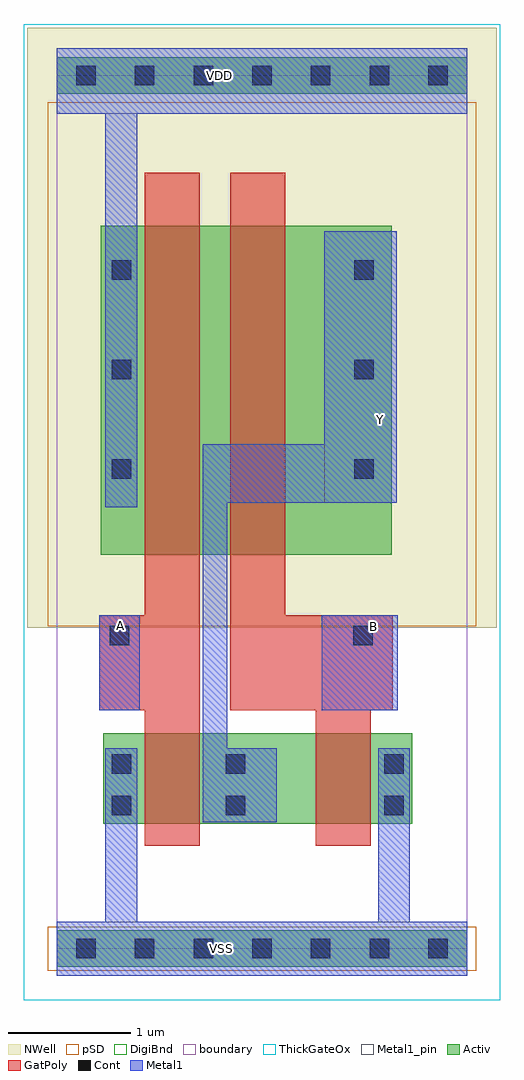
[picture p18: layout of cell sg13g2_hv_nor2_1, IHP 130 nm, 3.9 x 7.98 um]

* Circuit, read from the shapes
.subckt sg13g2_hv_nor2_1 A B VDD VSS Y
XM1 Y A VSS VSS sg13_hv_nmos w=0.74u l=0.45u
XM2 VSS B Y VSS sg13_hv_nmos w=0.74u l=0.45u
XM3 n1 A VDD VDD sg13_hv_pmos w=2.69u l=0.45u
XM4 Y B n1 VDD sg13_hv_pmos w=2.69u l=0.45u
.ends

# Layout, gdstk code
import gdstk
lib = gdstk.Library(unit=1e-6, precision=1e-09)
def R(c, l, rs):  # rectangles x0, y0, x1, y1
    for r in rs: c.add(gdstk.rectangle(r[:2], r[2:], *l))
def A(c, l, x, y, w, h, nx, ny, dx, dy):  # array of equal rectangles
    R(c, l, [(x+i*dx, y+j*dy, x+i*dx+w, y+j*dy+h) for i in range(nx) for j in range(ny)])
def P(c, l, *ps):  # polygons
    for p in ps: c.add(gdstk.Polygon(p, *l))
Activ = (1, 0)
GatPoly = (5, 0)
Cont = (6, 0)
Metal1 = (8, 0)
Metal1_pin = (8, 2)
pSD = (14, 0)
DigiBnd = (16, 0)
NWell = (31, 0)
ThickGateOx = (44, 0)
boundary = (189, 4)

sg13g2_hv_nor2_1 = lib.new_cell('sg13g2_hv_nor2_1')
R(sg13g2_hv_nor2_1, Activ, [(0,-0.15,3.36,0.15), (0.38,1.02,2.91,1.76), (0.36,3.22,2.74,5.91), (0,6.99,3.36,7.29)])
P(sg13g2_hv_nor2_1, GatPoly, [(2.12,0.84),(2.12,1.95),(1.42,1.95),(1.42,6.345),(1.87,6.345),(1.87,2.725),(2.75,2.725),(2.75,1.95),(2.57,1.95),(2.57,0.84)],
  [(0.72,0.84),(0.72,1.95),(0.35,1.95),(0.35,2.725),(0.72,2.725),(0.72,6.345),(1.17,6.345),(1.17,0.84)])
A(sg13g2_hv_nor2_1, Cont, 0.16, -0.08, 0.16, 0.16, 7, 2, 0.48, 7.14)
A(sg13g2_hv_nor2_1, Cont, 0.45, 3.84, 0.16, 0.16, 1, 3, 0, 0.815)
A(sg13g2_hv_nor2_1, Cont, 2.435, 3.84, 0.16, 0.16, 1, 3, 0, 0.815)
R(sg13g2_hv_nor2_1, Cont, [(0.45,1.09,0.61,1.25), (1.385,1.09,1.545,1.25), (2.68,1.09,2.84,1.25), (0.45,1.43,0.61,1.59), (1.385,1.43,1.545,1.59), (2.68,1.43,2.84,1.59), (0.435,2.48,0.595,2.64), (2.425,2.48,2.585,2.64)])
R(sg13g2_hv_nor2_1, Metal1, [(0.35,1.95,0.68,2.725), (2.17,1.95,2.79,2.725)])
P(sg13g2_hv_nor2_1, Metal1, [(1.195,1.035),(1.195,4.125),(2.19,4.125),(2.19,5.865),(2.78,5.865),(2.78,3.645),(1.395,3.645),(1.395,1.64),(1.8,1.64),(1.8,1.035)],
  [(0.4,3.61),(0.4,6.825),(0,6.825),(0,7.36),(3.36,7.36),(3.36,6.825),(0.66,6.825),(0.66,3.61)],
  [(0,-0.22),(0,0.22),(0.4,0.22),(0.4,1.64),(0.66,1.64),(0.66,0.22),(2.63,0.22),(2.63,1.64),(2.89,1.64),(2.89,0.22),(3.36,0.22),(3.36,-0.22)])
R(sg13g2_hv_nor2_1, Metal1_pin, [(0,-0.22,3.36,0.22), (0.35,1.95,0.68,2.725), (2.17,1.95,2.79,2.725), (2.19,3.645,2.78,5.865), (0,6.825,3.36,7.36)])
R(sg13g2_hv_nor2_1, pSD, [(-0.07,-0.18,3.43,0.18), (-0.07,2.635,3.43,6.92)])
R(sg13g2_hv_nor2_1, DigiBnd, [(0,0,3.36,7.14)])
R(sg13g2_hv_nor2_1, NWell, [(-0.24,2.625,3.6,7.53)])
R(sg13g2_hv_nor2_1, ThickGateOx, [(-0.27,-0.42,3.63,7.56)])
R(sg13g2_hv_nor2_1, boundary, [(0,0,3.36,7.14)])
sg13g2_hv_nor2_1.add(gdstk.Label('A', (0.52,2.64), layer=8, texttype=25))
sg13g2_hv_nor2_1.add(gdstk.Label('VDD', (1.33,7.14), layer=8, texttype=25))
sg13g2_hv_nor2_1.add(gdstk.Label('Y', (2.65,4.33), layer=8, texttype=25))
sg13g2_hv_nor2_1.add(gdstk.Label('VSS', (1.345,0.005), layer=8, texttype=25))
sg13g2_hv_nor2_1.add(gdstk.Label('B', (2.59,2.635), layer=8, texttype=25))

lib.write_gds('sg13g2_hv_nor2_1.gds')
